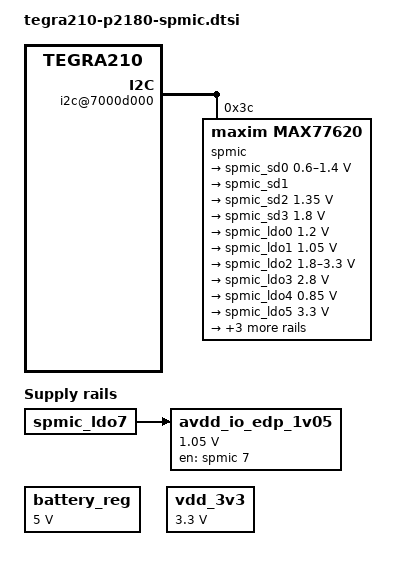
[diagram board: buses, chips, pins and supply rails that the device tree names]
/*
 * Copyright (c) 2016, NVIDIA CORPORATION.  All rights reserved.
 *
 * This program is free software; you can redistribute it and/or modify
 * it under the terms of the GNU General Public License as published by
 * the Free Software Foundation; either version 2 of the License, or
 * (at your option) any later version.
 *
 * This program is distributed in the hope that it will be useful, but WITHOUT
 * ANY WARRANTY; without even the implied warranty of MERCHANTABILITY or
 * FITNESS FOR A PARTICULAR PURPOSE.  See the GNU General Public License for
 * more details.
 */

#include <dt-bindings/mfd/max77620.h>
#include <dt-bindings/gpio/tegra-gpio.h>

/ {
	i2c@7000d000 {
		status = "okay";
		spmic:system-pmic@3c {
			compatible = "maxim,max77620";
			reg = <0x3c>;
			interrupts = <GIC_SPI 86 IRQ_TYPE_NONE>;

			#interrupt-cells = <2>;
                        interrupt-controller;

			gpio-controller;
			#gpio-cells = <2>;

			pinctrl-names = "default";
			pinctrl-0 = <&spmic_pin_defaults>;

			spmic_pin_defaults: spmic_pin_defaults {
				pin_gpio0 {
					pins = "gpio0";
					function = "gpio";
				};

				pin_gpio1 {
					pins = "gpio1";
					function = "fps-out";
					drive-push-pull = <1>;
					maxim,active-fps-source = <MAX77620_FPS_SRC_0>;
					maxim,active-fps-power-up-slot = <7>;
					maxim,active-fps-power-down-slot = <0>;
				};

				pin_gpio2_3 {
					pins = "gpio2", "gpio3";
					function = "fps-out";
					maxim,active-fps-source = <MAX77620_FPS_SRC_0>;
				};

				pin_gpio4 {
					pins = "gpio4";
					function = "32k-out1";
				};

				pin_gpio5_6_7 {
					pins = "gpio5", "gpio6", "gpio7";
					function = "gpio";
					drive-push-pull = <1>;
				};
			};

			fps {
				fps0 {
					maxim,shutdown-fps-time-period-us =  <5120>;
					maxim,fps-event-source = <MAX77620_FPS_EVENT_SRC_EN0>;
				};

				fps1 {
					maxim,shutdown-fps-time-period-us = <5120>;
					maxim,fps-event-source = <MAX77620_FPS_EVENT_SRC_EN1>;
					maxim,device-state-on-disabled-event = <MAX77620_FPS_INACTIVE_STATE_SLEEP>;
				};

				fps2 {
					maxim,fps-event-source = <MAX77620_FPS_EVENT_SRC_EN0>;
				};
			};

			regulators {
				in-ldo0-1-supply = <&spmic_sd2>;
				in-ldo7-8-supply = <&spmic_sd2>;

				spmic_sd0: sd0 {
					regulator-name = "vdd_core";
					regulator-min-microvolt = <600000>;
					regulator-max-microvolt = <1400000>;
					regulator-boot-on;
					regulator-always-on;
					maxim,active-fps-source = <MAX77620_FPS_SRC_1>;
					regulator-enable-ramp-delay = <146>;
					regulator-ramp-delay = <9000>;
					maxim,ramp-rate-setting = <27500>;
				};

				spmic_sd1: sd1 {
					regulator-name = "vddio-ddr";
					regulator-always-on;
					regulator-boot-on;
					maxim,active-fps-source = <MAX77620_FPS_SRC_0>;
					regulator-enable-ramp-delay = <130>;
					regulator-ramp-delay = <9000>;
					maxim,ramp-rate-setting = <27500>;
				};

				spmic_sd2: sd2 {
					regulator-name = "vdd-pre-reg";
					regulator-min-microvolt = <1350000>;
					regulator-max-microvolt = <1350000>;
					maxim,active-fps-source = <MAX77620_FPS_SRC_1>;
					regulator-enable-ramp-delay = <176>;
					regulator-ramp-delay = <7800>;
					maxim,ramp-rate-setting = <27500>;
				};

				spmic_sd3: sd3 {
					regulator-name = "vdd-1v8";
					regulator-min-microvolt = <1800000>;
					regulator-max-microvolt = <1800000>;
					regulator-always-on;
					regulator-boot-on;
					maxim,active-fps-source = <MAX77620_FPS_SRC_0>;
					regulator-enable-ramp-delay = <242>;
					regulator-ramp-delay = <7800>;
					maxim,ramp-rate-setting = <27500>;
				};

				spmic_ldo0: ldo0 {
					regulator-name = "avdd-sys";
					regulator-min-microvolt = <1200000>;
					regulator-max-microvolt = <1200000>;
					regulator-always-on;
					regulator-boot-on;
					maxim,active-fps-source = <MAX77620_FPS_SRC_NONE>;
					regulator-enable-ramp-delay = <26>;
					regulator-ramp-delay = <50000>;
					maxim,ramp-rate-setting = <100000>;
				};

				spmic_ldo1: ldo1 {
					regulator-name = "vdd-pex";
					regulator-min-microvolt = <1050000>;
					regulator-max-microvolt = <1050000>;
					regulator-always-on;
					maxim,active-fps-source = <MAX77620_FPS_SRC_1>;
					regulator-enable-ramp-delay = <22>;
					regulator-ramp-delay = <50000>;
					maxim,ramp-rate-setting = <100000>;
				};

				spmic_ldo2: ldo2 {
					regulator-name = "vddio-sdmmc1";
					regulator-min-microvolt = <1800000>;
					regulator-max-microvolt = <3300000>;
					maxim,active-fps-source = <MAX77620_FPS_SRC_NONE>;
					regulator-enable-ramp-delay = <62>;
					regulator-ramp-delay = <50000>;
					maxim,ramp-rate-setting = <100000>;
				};

				spmic_ldo3: ldo3 {
					regulator-name = "vdd-cam-hv";
					regulator-min-microvolt = <2800000>;
					regulator-max-microvolt = <2800000>;
					maxim,active-fps-source = <MAX77620_FPS_SRC_NONE>;
					regulator-enable-ramp-delay = <50>;
					regulator-ramp-delay = <50000>;
					maxim,ramp-rate-setting = <100000>;
				};

				spmic_ldo4: ldo4 {
					regulator-name = "vdd-rtc";
					regulator-min-microvolt = <850000>;
					regulator-max-microvolt = <850000>;
					regulator-always-on;
					regulator-boot-on;
					maxim,active-fps-source = <MAX77620_FPS_SRC_0>;
					regulator-enable-ramp-delay = <22>;
					regulator-ramp-delay = <100000>;
					maxim,ramp-rate-setting = <100000>;
				};

				spmic_ldo5: ldo5 {
					regulator-name = "avdd-ts-hv";
					regulator-min-microvolt = <3300000>;
					regulator-max-microvolt = <3300000>;
					maxim,active-fps-source = <MAX77620_FPS_SRC_NONE>;
					regulator-enable-ramp-delay = <62>;
					regulator-ramp-delay = <50000>;
					maxim,ramp-rate-setting = <100000>;
				};

				spmic_ldo6: ldo6 {
					regulator-name = "vdd-ts";
					regulator-min-microvolt = <1800000>;
					regulator-max-microvolt = <1800000>;
					maxim,active-fps-source = <MAX77620_FPS_SRC_NONE>;
					maxim,active-fps-power-up-slot = <7>;
					maxim,active-fps-power-down-slot = <0>;
					regulator-enable-ramp-delay = <36>;
					regulator-ramp-delay = <50000>;
					maxim,ramp-rate-setting = <100000>;
				};

				spmic_ldo7: ldo7 {
					regulator-name = "vdd-gen-pll-edp";
					regulator-min-microvolt = <1050000>;
					regulator-max-microvolt = <1050000>;
					regulator-always-on;
					regulator-boot-on;
					maxim,active-fps-source = <MAX77620_FPS_SRC_1>;
					regulator-enable-ramp-delay = <24>;
					regulator-ramp-delay = <50000>;
					maxim,ramp-rate-setting = <100000>;
				};

				spmic_ldo8: ldo8 {
					regulator-name = "vdd-hdmi-dp";
					regulator-min-microvolt = <1050000>;
					regulator-max-microvolt = <1050000>;
					regulator-always-on;
					maxim,active-fps-source = <MAX77620_FPS_SRC_1>;
					regulator-enable-ramp-delay = <22>;
					regulator-ramp-delay = <50000>;
					maxim,ramp-rate-setting = <100000>;
				};
			};
		};
	};

	fixed-regulators {
		compatible = "simple-bus";
		device_type = "fixed-regulators";
		#address-cells = <1>;
		#size-cells = <0>;

		battery_reg: regulator@0 {
			compatible = "regulator-fixed";
			reg = <0>;
			regulator-name = "vdd-ac-bat";
			regulator-min-microvolt = <5000000>;
			regulator-max-microvolt = <5000000>;
		};

		vdd_3v3: regulator@1 { /* SPMIC GPIO3 FPS controlled */
			compatible = "regulator-fixed";
			reg = <1>;
			regulator-name = "vdd-3v3";
			regulator-min-microvolt = <3300000>;
			regulator-max-microvolt = <3300000>;
			regulator-enable-ramp-delay = <160>;
		};

		avdd_io_edp_1v05: regulator@2 {
			compatible = "regulator-fixed";
			reg = <2>;
			regulator-name = "avdd-io-edp-1v05";
			regulator-min-microvolt = <1050000>;
			regulator-max-microvolt = <1050000>;
			regulator-boot-on;
			gpio = <&spmic 7 0>;
			enable-active-high;
			regulator-enable-ramp-delay = <240>;
			vin-supply = <&spmic_ldo7>;
		};
	};
};
